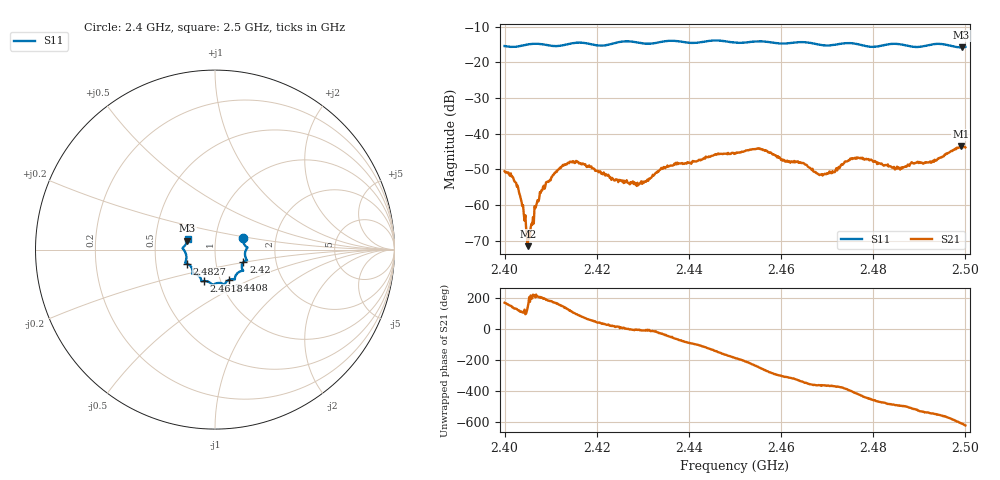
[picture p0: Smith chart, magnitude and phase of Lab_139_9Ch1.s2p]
# Hz S RI R 50
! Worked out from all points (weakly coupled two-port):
!   601 points, 2.4 GHz to 2.5 GHz, reference 50 ohm
!   highest |S21| = -43.56 dB at 2.499 GHz (marker M1); lowest = -71.6 dB at 2.405 GHz (marker M2)
!   lowest |S11| = -15.8 dB at 2.4992 GHz (marker M3), VSWR 1.39, Z = 36.5 + j3.71 ohm
!   |S11| at or under -10 dB: start of sweep to end of sweep
!   S12 and S22 are empty: the file has one direction only
!   S11 on the Smith chart (normalised r, x): 2.4 GHz: 1.36, +0.17; 2.42 GHz: 1.36, -0.19; 2.4408 GHz: 1.10, -0.38; 2.4618 GHz: 0.84, -0.30; 2.4827 GHz: 0.72, -0.12; 2.5 GHz: 0.73, +0.09
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2.4e9  0.1564 0.0622  -0.00291 0.000544  0 0  0 0
2.402833e9  0.1635 0.0283  -0.00101 0.00157  0 0  0 0
2.405e9  0.1764 0.0142  -0.000198 0.000175  0 0  0 0
2.408833e9  0.1754 0.00356  -0.00175 -0.000431  0 0  0 0
2.412833e9  0.169 -0.0394  -0.00284 0.00215  0 0  0 0
2.416667e9  0.1783 -0.0595  0.000614 0.00365  0 0  0 0
2.42e9  0.1579 -0.0693  0.00219 0.00204  0 0  0 0
2.428833e9  0.1463 -0.1195  0.00204 -0.000204  0 0  0 0
2.433333e9  0.1119 -0.1521  0.00269 -0.00107  0 0  0 0
2.440833e9  0.0788 -0.1687  -0.000279 -0.00413  0 0  0 0
2.45e9  0.0278 -0.186  -0.00531 0.00054  0 0  0 0
2.455333e9  -0.0122 -0.1959  -0.00232 0.00576  0 0  0 0
2.461833e9  -0.0599 -0.1751  0.0028 0.00298  0 0  0 0
2.466667e9  -0.0769 -0.1684  0.00308 9.15e-05  0 0  0 0
2.4695e9  -0.0907 -0.146  0.00273 -0.000156  0 0  0 0
2.476333e9  -0.126 -0.1293  0.00265 -0.00378  0 0  0 0
2.482667e9  -0.1571 -0.0777  -0.0016 -0.00325  0 0  0 0
2.483333e9  -0.1613 -0.0763  -0.00183 -0.00292  0 0  0 0
2.492667e9  -0.1771 0.00289  -0.00393 0.000227  0 0  0 0
2.499e9  -0.1545 0.0471  -0.00268 0.00607  0 0  0 0
2.499167e9  -0.1537 0.0495  -0.00236 0.00588  0 0  0 0
2.5e9  -0.1518 0.0616  -0.00105 0.0063  0 0  0 0
